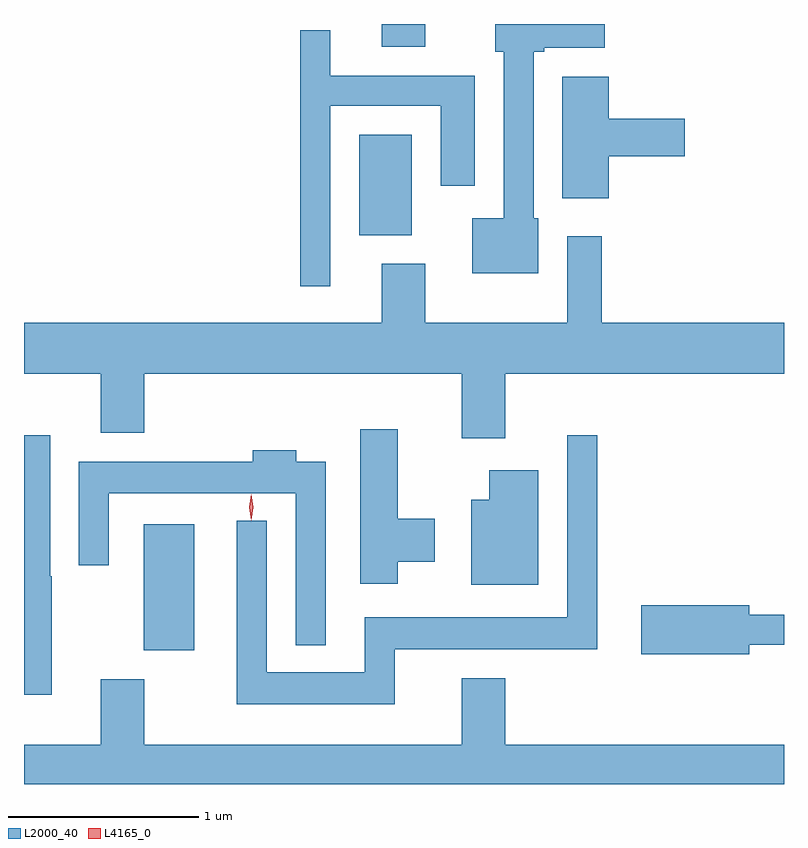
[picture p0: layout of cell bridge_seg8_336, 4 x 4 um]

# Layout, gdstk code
import gdstk
lib = gdstk.Library(unit=1e-6, precision=1e-09)
def R(c, l, rs):  # rectangles x0, y0, x1, y1
    for r in rs: c.add(gdstk.rectangle(r[:2], r[2:], *l))
def P(c, l, *ps):  # polygons
    for p in ps: c.add(gdstk.Polygon(p, *l))
L2000_40 = (2000, 40)
L4165_0 = (4165, 0)

bridge_seg8_336 = lib.new_cell('bridge_seg8_336')
R(bridge_seg8_336, L2000_40, [(936.396,1906.001,936.664,1906.664), (937.531,1908.186,937.809,1908.714), (937.651,1909.176,937.879,1909.297)])
P(bridge_seg8_336, L2000_40, [(938.474,1908.274),(938.449,1908.274),(938.449,1909.151),(938.504,1909.151),(938.504,1909.171),(938.823,1909.171),(938.823,1909.297),(938.246,1909.297),(938.246,1909.151),(938.291,1909.151),(938.291,1908.274),(938.126,1908.274),(938.126,1907.986),(938.474,1907.986)],
  [(937.379,1908.866),(937.961,1908.866),(937.961,1908.446),(938.139,1908.446),(938.139,1909.024),(937.379,1909.024),(937.379,1909.263),(937.221,1909.263),(937.221,1907.918),(937.379,1907.918)],
  [(938.844,1908.601),(939.244,1908.601),(939.244,1908.799),(938.844,1908.799),(938.844,1909.019),(938.601,1909.019),(938.601,1908.381),(938.844,1908.381)],
  [(935.767,1907.456),(936.171,1907.456),(936.171,1907.146),(936.399,1907.146),(936.399,1907.456),(938.071,1907.456),(938.071,1907.116),(938.299,1907.116),(938.299,1907.456),(939.767,1907.456),(939.767,1907.724),(938.809,1907.724),(938.809,1908.179),(938.626,1908.179),(938.626,1907.724),(937.879,1907.724),(937.879,1908.034),(937.651,1908.034),(937.651,1907.724),(935.767,1907.724)],
  [(937.734,1906.466),(937.929,1906.466),(937.929,1906.694),(937.734,1906.694),(937.734,1907.164),(937.536,1907.164),(937.536,1906.351),(937.734,1906.351)],
  [(937.719,1906.006),(938.784,1906.006),(938.784,1907.133),(938.626,1907.133),(938.626,1906.174),(937.561,1906.174),(937.561,1905.884),(937.044,1905.884),(937.044,1906.683),(936.886,1906.683),(936.886,1905.716),(937.719,1905.716)],
  [(935.914,1906.39),(935.904,1906.39),(935.904,1907.133),(935.767,1907.133),(935.767,1905.766),(935.914,1905.766)],
  [(937.354,1906.994),(937.199,1906.994),(937.199,1907.054),(936.971,1907.054),(936.971,1906.994),(936.056,1906.994),(936.056,1906.448),(936.214,1906.448),(936.214,1906.826),(937.196,1906.826),(937.196,1906.028),(937.354,1906.028)],
  [(938.474,1906.949),(938.216,1906.949),(938.216,1906.794),(938.121,1906.794),(938.121,1906.346),(938.474,1906.346)],
  [(939.584,1906.031),(939.767,1906.031),(939.767,1906.189),(939.584,1906.189),(939.584,1906.239),(939.016,1906.239),(939.016,1905.981),(939.584,1905.981)],
  [(939.767,1905.504),(938.299,1905.504),(938.299,1905.854),(938.071,1905.854),(938.071,1905.504),(936.399,1905.504),(936.399,1905.849),(936.171,1905.849),(936.171,1905.504),(935.767,1905.504),(935.767,1905.297),(939.767,1905.297)])
P(bridge_seg8_336, L4165_0, [(936.963,1906.683),(936.962,1906.684),(936.953,1906.753),(936.962,1906.822),(936.963,1906.823),(936.964,1906.822),(936.973,1906.753),(936.964,1906.684)],
  [(936.963,1906.687),(936.953,1906.754),(936.963,1906.82),(936.964,1906.82),(936.964,1906.82),(936.974,1906.754),(936.964,1906.687),(936.964,1906.687)])

lib.write_gds('bridge_seg8_336.gds')
